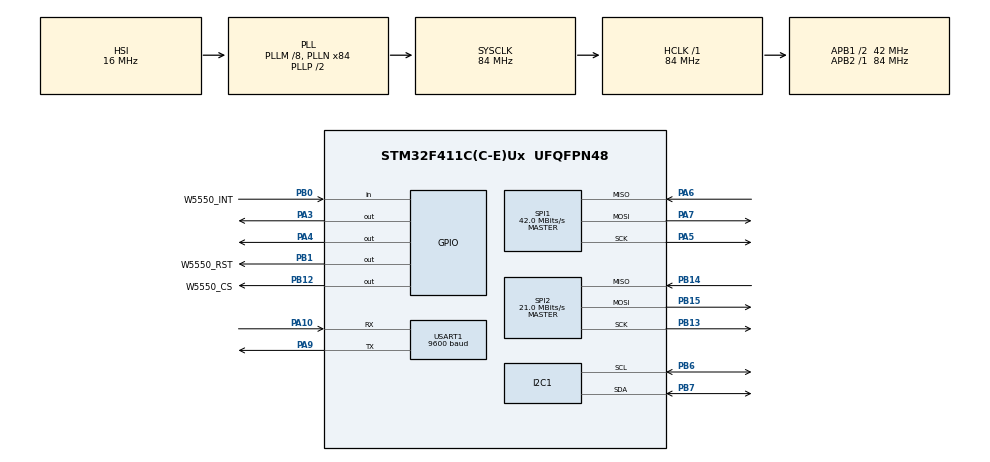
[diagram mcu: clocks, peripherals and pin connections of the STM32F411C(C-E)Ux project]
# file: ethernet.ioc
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I2C1.I2C_Mode=I2C_Fast
Mcu.Family=STM32F4
Mcu.Name=STM32F411C(C-E)Ux
Mcu.Package=UFQFPN48
NVIC.PriorityGroup=NVIC_PRIORITYGROUP_4
NVIC.USART1_IRQn=true\:0\:0\:false\:false\:true\:true\:true\:true
PA10.Mode=Asynchronous
PA10.Signal=USART1_RX
PA3.Signal=GPIO_Output
PA4.Signal=GPIO_Output
PA5.Mode=Full_Duplex_Master
PA5.Signal=SPI1_SCK
PA6.Mode=Full_Duplex_Master
PA6.Signal=SPI1_MISO
PA7.Mode=Full_Duplex_Master
PA7.Signal=SPI1_MOSI
PA9.Mode=Asynchronous
PA9.Signal=USART1_TX
PB0.GPIO_Label=W5550_INT
PB0.Signal=GPIO_Input
PB1.GPIO_Label=W5550_RST
PB1.Signal=GPIO_Output
PB12.GPIO_Label=W5550_CS
PB12.Signal=GPIO_Output
PB13.Mode=Full_Duplex_Master
PB13.Signal=SPI2_SCK
PB14.Mode=Full_Duplex_Master
PB14.Signal=SPI2_MISO
PB15.Mode=Full_Duplex_Master
PB15.Signal=SPI2_MOSI
PB6.Mode=I2C
PB6.Signal=I2C1_SCL
PB7.Mode=I2C
PB7.Signal=I2C1_SDA
PH0\ -\ OSC_IN.Mode=HSE-External-Oscillator
PH0\ -\ OSC_IN.Signal=RCC_OSC_IN
PH1\ -\ OSC_OUT.Mode=HSE-External-Oscillator
PH1\ -\ OSC_OUT.Signal=RCC_OSC_OUT
ProjectManager.HeapSize=0x200
ProjectManager.StackSize=0x400
ProjectManager.TargetToolchain=STM32CubeIDE
RCC.48MHZClocksFreq_Value=42000000
RCC.AHBFreq_Value=84000000
RCC.APB1CLKDivider=RCC_HCLK_DIV2
RCC.APB1Freq_Value=42000000
RCC.APB1TimFreq_Value=84000000
RCC.APB2Freq_Value=84000000
RCC.APB2TimFreq_Value=84000000
RCC.CortexFreq_Value=84000000
RCC.HCLKFreq_Value=84000000
RCC.HSE_VALUE=25000000
RCC.HSI_VALUE=16000000
RCC.LSE_VALUE=32768
RCC.PLLM=8
RCC.PLLN=84
RCC.SYSCLKFreq_VALUE=84000000
RCC.SYSCLKSource=RCC_SYSCLKSOURCE_PLLCLK
RCC.VCOOutputFreq_Value=168000000
SPI1.CalculateBaudRate=42.0 MBits/s
SPI1.Direction=SPI_DIRECTION_2LINES
SPI1.Mode=SPI_MODE_MASTER
SPI1.VirtualType=VM_MASTER
SPI2.CalculateBaudRate=21.0 MBits/s
SPI2.Direction=SPI_DIRECTION_2LINES
SPI2.Mode=SPI_MODE_MASTER
SPI2.VirtualType=VM_MASTER
USART1.BaudRate=9600
USART1.VirtualMode=VM_ASYNC
board=custom

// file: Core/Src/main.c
/* USER CODE BEGIN Header */
/**
  ******************************************************************************
  * @file           : main.c
  * @brief          : Main program body
  ******************************************************************************
  * @attention
  *
  * Copyright (c) 2025 STMicroelectronics.
  * All rights reserved.
  *
  * This software is licensed under terms that can be found in the LICENSE file
  * in the root directory of this software component.
  * If no LICENSE file comes with this software, it is provided AS-IS.
  *
  ******************************************************************************
  */
/* USER CODE END Header */

/* USER CODE BEGIN Includes */
#include "main.h"
#include "spi.h"
#include "i2c.h"
#include "usart.h"
#include "gpio.h"
#include "socket.h"
#include "w5500.h"
#include "wizchip_conf.h"
//#include "dhcp.h"
#include "gps.h"
#include "nmea.h"
#include "bme.h"
#include "display_ili9341.h"
#include "cli.h"
#include <stdio.h>
#include <string.h>
#include <time.h>

/* USER CODE END Includes */

/* USER CODE BEGIN PD */
#define HTTP_SOCKET     0
#define DHCP_SOCKET     1
#define HTTP_PORT       80
#define DATA_BUF_SIZE   2048

/* USER CODE END PD */

/* USER CODE BEGIN PV */
wiz_NetInfo gWIZNETINFO = {
    .mac = {0x00, 0x08, 0xdc, 0xab, 0xcd, 0xef},
    .ip = {192, 168, 1, 177},
    .sn = {255, 255, 255, 0},
    .gw = {192, 168, 1, 1},
    .dns = {8, 8, 8, 8}
};

uint8_t rx_tx_buf[DATA_BUF_SIZE];
static uint8_t gps_rx_byte;

bme280_data_t bme_data = {0};
gps_pos_t gps_data = {0};

uint8_t net_initialized = 0;

static uint32_t gps_last_update = 0;
static uint32_t env_last_update = 0;

const char index_html[] =
"<!DOCTYPE html><html><head><meta charset='UTF-8'>"
"<meta name='viewport' content='width=device-width,initial-scale=1'>"
"<title>STM32 Network Panel</title>"
"<style>"
"body{font-family:Arial,sans-serif;background:#f0f0f0;margin:0;padding:20px;}"
"h1{text-align:center;color:#333;}"
".container{max-width:800px;margin:0 auto;}"
".card{background:white;border-radius:8px;padding:20px;margin:15px 0;box-shadow:0 2px 8px rgba(0,0,0,0.1);}"
".card h2{margin-top:0;color:#007BFF;border-bottom:2px solid #007BFF;padding-bottom:10px;}"
".row{display:flex;justify-content:space-between;margin:10px 0;}"
".label{font-weight:bold;color:#555;}"
".value{font-size:1.3em;color:#007BFF;font-weight:bold;}"
".stale{color:#ff4444;font-size:0.85em;font-weight:bold;}"
".good{color:#00aa00;}"
".badge{display:inline-block;padding:3px 8px;border-radius:4px;font-size:0.8em;font-weight:bold;}"
".fix-ok{background:#00aa00;color:white;}"
".fix-no{background:#ff4444;color:white;}"
"#timestamp{text-align:center;color:#888;font-size:0.9em;margin-top:10px;}"
"</style></head><body>"
"<div class='container'>"
"<h1>🌐 STM32 Device Status</h1>"
"<div class='card'>"
"<h2>📍 GPS Position</h2>"
"<div class='row'><span class='label'>Latitude:</span><span id='lat' class='value'>--</span></div>"
"<div class='row'><span class='label'>Longitude:</span><span id='lon' class='value'>--</span></div>"
"<div class='row'><span class='label'>Fix Status:</span><span id='fix' class='badge'>--</span></div>"
"<div class='row'><span class='label'>Satellites:</span><span id='sats' class='value'>--</span></div>"
"<div class='row'><span class='label'>UTC Time:</span><span id='utc' class='value'>--</span></div>"
"<div id='gps_stale' class='stale'></div>"
"</div>"
"<div class='card'>"
"<h2>🌡️ Environment Sensors</h2>"
"<div class='row'><span class='label'>Temperature:</span><span id='temp' class='value'>--</span> °C</div>"
"<div class='row'><span class='label'>Pressure:</span><span id='press' class='value'>--</span> hPa</div>"
"<div class='row'><span class='label'>Humidity:</span><span id='hum' class='value'>--</span> %</div>"
"<div id='env_stale' class='stale'></div>"
"</div>"
"<div id='timestamp'></div>"
"</div>"
"<script>"
"function upd(){"
"fetch('/status').then(r=>r.json()).then(d=>{"
"document.getElementById('lat').textContent=d.gps.lat.toFixed(5);"
"document.getElementById('lon').textContent=d.gps.lon.toFixed(5);"
"document.getElementById('sats').textContent=d.gps.sats;"
"document.getElementById('utc').textContent=d.time_utc;"
"let fixEl=document.getElementById('fix');"
"if(d.gps.fix>=2){fixEl.textContent='LOCKED';fixEl.className='badge fix-ok';}"
"else{fixEl.textContent='NO FIX';fixEl.className='badge fix-no';}"
"document.getElementById('temp').textContent=d.env.t_c.toFixed(1);"
"document.getElementById('press').textContent=d.env.p_hpa.toFixed(1);"
"document.getElementById('hum').textContent=d.env.rh_pct.toFixed(1);"
"document.getElementById('gps_stale').textContent=d.stale_age_s.gps>3?'⚠️ GPS data is stale ('+d.stale_age_s.gps.toFixed(1)+'s old)':'';"
"document.getElementById('env_stale').textContent=d.stale_age_s.env>3?'⚠️ Sensor data is stale ('+d.stale_age_s.env.toFixed(1)+'s old)':'';"
"document.getElementById('timestamp').textContent='Last updated: '+new Date().toLocaleTimeString();"
"}).catch(e=>{console.error(e);document.getElementById('timestamp').textContent='❌ Connection error';});}"
"setInterval(upd,1000);upd();"
"</script></body></html>";

/* USER CODE END PV */

void SystemClock_Config(void);
/* USER CODE BEGIN PFP */
#ifndef MX_USART1_UART_Init
void MX_USART1_UART_Init(void);
#endif
/* USER CODE END PFP */

/* USER CODE BEGIN 0 */
void wizchip_select(void) {
    HAL_GPIO_WritePin(W5550_CS_GPIO_Port, W5550_CS_Pin, GPIO_PIN_RESET);
}

void wizchip_deselect(void) {
    HAL_GPIO_WritePin(W5550_CS_GPIO_Port, W5550_CS_Pin, GPIO_PIN_SET);
}

uint8_t wiz_spi_readbyte(void) {
    uint8_t byte;
    HAL_SPI_Receive(&hspi2, &byte, 1, HAL_MAX_DELAY);
    return byte;
}

void wiz_spi_writebyte(uint8_t byte) {
    HAL_SPI_Transmit(&hspi2, &byte, 1, HAL_MAX_DELAY);
}

void dhcp_assign_callback(void) {
	wiz_NetInfo dhcpInfo;
	wizchip_getnetinfo(&dhcpInfo);

	memcpy(gWIZNETINFO.ip,  dhcpInfo.ip,  4);
	memcpy(gWIZNETINFO.sn,  dhcpInfo.sn,  4);
	memcpy(gWIZNETINFO.gw,  dhcpInfo.gw,  4);
	memcpy(gWIZNETINFO.dns, dhcpInfo.dns, 4);

    setnetinfo(&gWIZNETINFO);
    net_initialized = 1;
}
void network_init(void) {
    HAL_GPIO_WritePin(W5550_RST_GPIO_Port, W5550_RST_Pin, GPIO_PIN_RESET);
    HAL_Delay(10);
    HAL_GPIO_WritePin(W5550_RST_GPIO_Port, W5550_RST_Pin, GPIO_PIN_SET);
    HAL_Delay(100);

    uint8_t memsize[8] = {2,2,2,2,2,2,2,2};
    if(wizchip_init(memsize, memsize) == -1) {
        ili9341_draw_text(10, 20, "W5500 Init FAIL!", &font6x8, 0xF800, 0x0000);
        while(1);
    }

    setnetinfo(&gWIZNETINFO);
    net_initialized = 1;
}

uint8_t get_socket_status(uint8_t sn) {
    return W5500_READ_REG(W5500_Sn_SR(sn));
}

void http_server_process(void) {
    uint8_t sn = HTTP_SOCKET;
    uint16_t size = 0;
    uint8_t status = get_socket_status(sn);

    switch(status) {
        case W5500_SR_SOCK_ESTABLISHED:
            size = W5500_READ_REG16(W5500_Sn_RX_RSR0(sn));

            if(size > 0) {
                if(size > DATA_BUF_SIZE) size = DATA_BUF_SIZE;
                recv_socket(sn, rx_tx_buf, size);
                rx_tx_buf[size] = '\0';

                if (strstr((char*)rx_tx_buf, "GET /status")) {
                    char json_buf[600];
                    uint32_t now = HAL_GetTick();

                    float gps_age = (float)(now - gps_last_update) / 1000.0f;
                    float env_age = (float)(now - env_last_update) / 1000.0f;
                    if(gps_last_update == 0) gps_age = 999.9f;
                    if(env_last_update == 0) env_age = 999.9f;

                    char time_str[32];
                    format_utc_time(gps_data.year, gps_data.month, gps_data.day,
                                   gps_data.hour, gps_data.min, gps_data.sec,
                                   time_str, sizeof(time_str));

                    printf(json_buf, sizeof(json_buf),
                        "HTTP/1.1 200 OK\r\n"
                        "Content-Type: application/json\r\n"
                        "Access-Control-Allow-Origin: *\r\n"
                        "Connection: close\r\n"
                        "Cache-Control: no-cache\r\n\r\n"
                        "{"
                        "\"proto_ver\":1,"
                        "\"device_id\":\"bp-411-0007\","
                        "\"time_utc\":\"%s\","
                        "\"gps\":{\"lat\":%.6f,\"lon\":%.6f,\"fix\":%d,\"sats\":%d},"
                        "\"env\":{\"t_c\":%.1f,\"p_hpa\":%.1f,\"rh_pct\":%.1f,\"lux\":0},"
                        "\"stale_age_s\":{\"gps\":%.1f,\"env\":%.1f}"
                        "}",
                        time_str,
                        gps_data.lat_deg, gps_data.lon_deg, gps_data.fix, gps_data.sats,
                        bme_data.temperature, bme_data.pressure, bme_data.humidity,
                        gps_age, env_age
                    );
                    send_socket(sn, (uint8_t*)json_buf, strlen(json_buf));
                }
                else if (strstr((char*)rx_tx_buf, "GET / ")) {
                    char header[] = "HTTP/1.1 200 OK\r\nContent-Type: text/html\r\nConnection: close\r\n\r\n";
                    send_socket(sn, (uint8_t*)header, strlen(header));
                    send_socket(sn, (uint8_t*)index_html, strlen(index_html));
                }
                else {
                    char msg[] = "HTTP/1.1 404 Not Found\r\nConnection: close\r\n\r\n404 Not Found";
                    send_socket(sn, (uint8_t*)msg, strlen(msg));
                }

                disconnect_socket(sn);
            }
            break;

        case W5500_SR_SOCK_LISTEN:
            break;

        case W5500_SR_SOCK_INIT:
            listen_socket(sn);
            break;

        case W5500_SR_SOCK_CLOSED:
            socket(sn, 0x01, HTTP_PORT, 0); // 0x01 = TCP
            break;
    }
}

void HAL_UART_RxCpltCallback(UART_HandleTypeDef *huart) {
    if(huart->Instance == USART1) {
        nmea_push_chunk(&gps_rx_byte, 1);
        HAL_UART_Receive_IT(&huart1, &gps_rx_byte, 1);
    }
}

void display_update(void) {
    char buf[50];

    // Network info
    printf(buf, "IP: %d.%d.%d.%d",
            gWIZNETINFO.ip[0], gWIZNETINFO.ip[1],
            gWIZNETINFO.ip[2], gWIZNETINFO.ip[3]);
    ili9341_draw_text(10, 10, buf, &font6x8, 0x07E0, 0x0000);

    printf(buf, "GW: %d.%d.%d.%d",
            gWIZNETINFO.gw[0], gWIZNETINFO.gw[1],
            gWIZNETINFO.gw[2], gWIZNETINFO.gw[3]);
    ili9341_draw_text(10, 20, buf, &font6x8, 0xFFFF, 0x0000);

    // Sensor data
    printf(buf, "T: %.1fC  H: %.1f%%  ", bme_data.temperature, bme_data.humidity);
    ili9341_draw_text(10, 50, buf, &font6x8, 0xFFFF, 0x0000);

    printf(buf, "P: %.1f hPa        ", bme_data.pressure);
    ili9341_draw_text(10, 60, buf, &font6x8, 0xFFFF, 0x0000);

    // GPS data
    printf(buf, "Lat: %.5f   ", gps_data.lat_deg);
    ili9341_draw_text(10, 90, buf, &font6x8, 0xFFFF, 0x0000);

    printf(buf, "Lon: %.5f   ", gps_data.lon_deg);
    ili9341_draw_text(10, 100, buf, &font6x8, 0xFFFF, 0x0000);

    printf(buf, "Sats: %d  Fix: %d  ", gps_data.sats, gps_data.fix);
    ili9341_draw_text(10, 110, buf, &font6x8,
                     gps_data.fix >= 2 ? 0x07E0 : 0xF800, 0x0000);
}

/* USER CODE END 0 */

int main(void) {
	  HAL_Init();
	    SystemClock_Config();

	    MX_GPIO_Init();
	    MX_I2C1_Init();
	    MX_SPI1_Init();
	    MX_SPI2_Init();
	    MX_USART1_UART_Init();

	    ili9341_init(&hspi1);
	    ili9341_fill_screen(0x0000);
	    ili9341_draw_text(10, 150, "Initializing...", &font6x8, 0xFFFF, 0x0000);

	    bme280_init(&hi2c1);

	    gps_init();
	    nmea_init();

	    network_init();

	    HAL_UART_Receive_IT(&huart1, &gps_rx_byte, 1);

	    cli_init();

	    uint32_t last_sensor_poll = 0;
	    uint32_t last_display_update = 0;

	    while (1) {
	        uint32_t now = HAL_GetTick();

	        if(now - last_sensor_poll > 1000) {
	            last_sensor_poll = now;

	            bme280_forced_measure();
	            HAL_Delay(10);
	            if(bme280_read(&bme_data)) {
	                bme_data.last_update = now;
	            }

	            gps_data = gps_get_last_position();
	            if(gps_data.valid) {
	                gps_last_update = now;
	            }
	        }

	        if(now - last_display_update > 1000) {
	            last_display_update = now;
	            display_update();
	        }

	        if(net_initialized) {
	            http_server_process();
	        }

	        cli_process();
	    }
}

void SystemClock_Config(void)
{
  RCC_OscInitTypeDef RCC_OscInitStruct = {0};
  RCC_ClkInitTypeDef RCC_ClkInitStruct = {0};

  __HAL_RCC_PWR_CLK_ENABLE();
  __HAL_PWR_VOLTAGESCALING_CONFIG(PWR_REGULATOR_VOLTAGE_SCALE1);

  RCC_OscInitStruct.OscillatorType = RCC_OSCILLATORTYPE_HSI;
  RCC_OscInitStruct.HSIState = RCC_HSI_ON;
  RCC_OscInitStruct.HSICalibrationValue = RCC_HSICALIBRATION_DEFAULT;
  RCC_OscInitStruct.PLL.PLLState = RCC_PLL_ON;
  RCC_OscInitStruct.PLL.PLLSource = RCC_PLLSOURCE_HSI;
  RCC_OscInitStruct.PLL.PLLM = 8;
  RCC_OscInitStruct.PLL.PLLN = 84;
  RCC_OscInitStruct.PLL.PLLP = RCC_PLLP_DIV2;
  RCC_OscInitStruct.PLL.PLLQ = 4;
  if (HAL_RCC_OscConfig(&RCC_OscInitStruct) != HAL_OK)
  {
    Error_Handler();
  }

  RCC_ClkInitStruct.ClockType = RCC_CLOCKTYPE_HCLK|RCC_CLOCKTYPE_SYSCLK
                              |RCC_CLOCKTYPE_PCLK1|RCC_CLOCKTYPE_PCLK2;
  RCC_ClkInitStruct.SYSCLKSource = RCC_SYSCLKSOURCE_PLLCLK;
  RCC_ClkInitStruct.AHBCLKDivider = RCC_SYSCLK_DIV1;
  RCC_ClkInitStruct.APB1CLKDivider = RCC_HCLK_DIV2;
  RCC_ClkInitStruct.APB2CLKDivider = RCC_HCLK_DIV1;

  if (HAL_RCC_ClockConfig(&RCC_ClkInitStruct, FLASH_LATENCY_2) != HAL_OK)
  {
    Error_Handler();
  }
}

void Error_Handler(void)
{
  __disable_irq();
  while (1)
  {
  }
}
